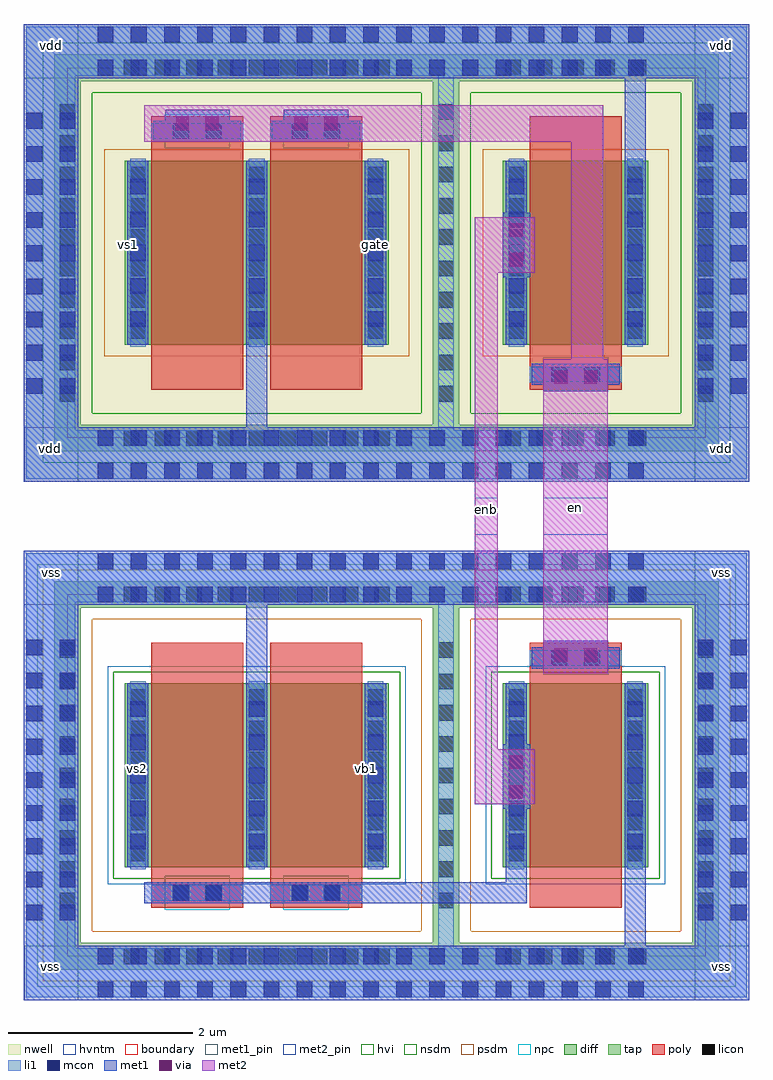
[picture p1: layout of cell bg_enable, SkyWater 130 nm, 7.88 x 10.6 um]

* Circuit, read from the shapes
.subckt bg_enable en enb gate vb1 vdd vs1 vs2 vss
XM1 vss enb vs2 vss sky130_fd_pr__nfet_g5v0d10v5 w=2 l=1
XM2 vb1 enb vss vss sky130_fd_pr__nfet_g5v0d10v5 w=2 l=1
XM3 vss en enb vss sky130_fd_pr__nfet_g5v0d10v5 w=2 l=1
XM4 vdd en vs1 vdd sky130_fd_pr__pfet_g5v0d10v5 w=2 l=1
XM5 gate en vdd vdd sky130_fd_pr__pfet_g5v0d10v5 w=2 l=1
XM6 vdd en enb vdd sky130_fd_pr__pfet_g5v0d10v5 w=2 l=1
.ends

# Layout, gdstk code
from math import pi, radians
import gdstk
lib = gdstk.Library(unit=1e-6, precision=1e-09)
def R(c, l, rs):  # rectangles x0, y0, x1, y1
    for r in rs: c.add(gdstk.rectangle(r[:2], r[2:], *l))
def A(c, l, x, y, w, h, nx, ny, dx, dy):  # array of equal rectangles
    R(c, l, [(x+i*dx, y+j*dy, x+i*dx+w, y+j*dy+h) for i in range(nx) for j in range(ny)])
nwell = (64, 20)
diff = (65, 20)
tap = (65, 44)
poly = (66, 20)
licon = (66, 44)
li1 = (67, 20)
mcon = (67, 44)
met1_pin = (68, 16)
met1 = (68, 20)
via = (68, 44)
met2_pin = (69, 16)
met2 = (69, 20)
hvi = (75, 20)
nsdm = (93, 44)
psdm = (94, 20)
npc = (95, 20)
hvntm = (125, 20)
boundary = (235, 4)

sky130_fd_pr__nfet_g5v0d = lib.new_cell('sky130_fd_pr__nfet_g5v0d10v5_W8LBZR')
R(sky130_fd_pr__nfet_g5v0d, diff, [(0.95,1.295,2.53,3.295)])
R(sky130_fd_pr__nfet_g5v0d, tap, [(0.185,0.185,3.295,0.475), (0.185,0.475,0.475,4.115), (3.005,0.475,3.295,4.115), (0.185,4.115,3.295,4.405)])
R(sky130_fd_pr__nfet_g5v0d, poly, [(1.24,0.855,2.24,3.735)])
A(sky130_fd_pr__nfet_g5v0d, licon, 0.975, 0.245, 0.17, 0.17, 5, 2, 0.34, 3.93)
A(sky130_fd_pr__nfet_g5v0d, licon, 0.245, 0.85, 0.17, 0.17, 1, 9, 0, 0.34)
A(sky130_fd_pr__nfet_g5v0d, licon, 3.065, 0.85, 0.17, 0.17, 1, 9, 0, 0.34)
A(sky130_fd_pr__nfet_g5v0d, licon, 1.01, 1.36, 0.17, 0.17, 1, 6, 0, 0.34)
A(sky130_fd_pr__nfet_g5v0d, licon, 2.3, 1.36, 0.17, 0.17, 1, 6, 0, 0.34)
R(sky130_fd_pr__nfet_g5v0d, licon, [(1.485,3.485,1.655,3.655), (1.825,3.485,1.995,3.655)])
R(sky130_fd_pr__nfet_g5v0d, li1, [(0.245,0.245,3.235,0.415), (0.245,0.415,0.415,4.175), (3.065,0.415,3.235,4.175), (1.01,1.275,1.18,3.315), (2.3,1.275,2.47,3.315), (1.24,3.485,2.24,3.655), (0.245,4.175,3.235,4.345)])
A(sky130_fd_pr__nfet_g5v0d, mcon, 1.01, 1.49, 0.17, 0.17, 1, 5, 0, 0.36)
A(sky130_fd_pr__nfet_g5v0d, mcon, 2.3, 1.49, 0.17, 0.17, 1, 5, 0, 0.36)
R(sky130_fd_pr__nfet_g5v0d, mcon, [(1.475,3.485,1.645,3.655), (1.835,3.485,2.005,3.655)])
R(sky130_fd_pr__nfet_g5v0d, met1, [(0.98,1.295,1.21,3.295), (2.27,1.295,2.5,3.295), (1.26,3.455,2.22,3.685)])
R(sky130_fd_pr__nfet_g5v0d, hvi, [(0,0,3.48,4.59)])
R(sky130_fd_pr__nfet_g5v0d, nsdm, [(0.825,1.17,2.655,3.42)])
R(sky130_fd_pr__nfet_g5v0d, psdm, [(0.06,0.06,3.42,0.6), (0.06,0.6,0.6,3.99), (2.88,0.6,3.42,3.99), (0.06,3.99,3.42,4.53)])
R(sky130_fd_pr__nfet_g5v0d, npc, [(1.385,3.385,2.095,3.755)])
R(sky130_fd_pr__nfet_g5v0d, hvntm, [(0.765,1.11,2.715,3.48)])
R(sky130_fd_pr__nfet_g5v0d, boundary, [(0.33,0.33,3.15,4.26)])

bge_mi2 = lib.new_cell('bge_mi2')
bge_mi2.add(gdstk.Reference(sky130_fd_pr__nfet_g5v0d, (0,0)))

sky130_fd_pr__pfet_g5v0d = lib.new_cell('sky130_fd_pr__pfet_g5v0d10v5_PUAB28')
R(sky130_fd_pr__pfet_g5v0d, nwell, [(0,0,3.77,4.97)])
R(sky130_fd_pr__pfet_g5v0d, diff, [(1.095,1.485,2.675,3.485)])
R(sky130_fd_pr__pfet_g5v0d, tap, [(0.33,0.33,3.44,0.62), (0.33,0.62,0.62,4.35), (3.15,0.62,3.44,4.35), (0.33,4.35,3.44,4.64)])
R(sky130_fd_pr__pfet_g5v0d, poly, [(1.385,1,2.385,3.97)])
A(sky130_fd_pr__pfet_g5v0d, licon, 1.12, 0.39, 0.17, 0.17, 5, 2, 0.34, 4.02)
A(sky130_fd_pr__pfet_g5v0d, licon, 0.39, 0.87, 0.17, 0.17, 1, 10, 0, 0.34)
A(sky130_fd_pr__pfet_g5v0d, licon, 3.21, 0.87, 0.17, 0.17, 1, 10, 0, 0.34)
A(sky130_fd_pr__pfet_g5v0d, licon, 1.155, 1.55, 0.17, 0.17, 1, 6, 0, 0.34)
A(sky130_fd_pr__pfet_g5v0d, licon, 2.445, 1.55, 0.17, 0.17, 1, 6, 0, 0.34)
R(sky130_fd_pr__pfet_g5v0d, licon, [(1.63,1.08,1.8,1.25), (1.97,1.08,2.14,1.25)])
R(sky130_fd_pr__pfet_g5v0d, li1, [(0.39,0.39,3.38,0.56), (0.39,0.56,0.56,4.41), (3.21,0.56,3.38,4.41), (1.385,1.08,2.385,1.25), (1.155,1.465,1.325,3.505), (2.445,1.465,2.615,3.505), (0.39,4.41,3.38,4.58)])
A(sky130_fd_pr__pfet_g5v0d, mcon, 1.155, 1.68, 0.17, 0.17, 1, 5, 0, 0.36)
A(sky130_fd_pr__pfet_g5v0d, mcon, 2.445, 1.68, 0.17, 0.17, 1, 5, 0, 0.36)
R(sky130_fd_pr__pfet_g5v0d, mcon, [(1.62,1.08,1.79,1.25), (1.98,1.08,2.15,1.25)])
R(sky130_fd_pr__pfet_g5v0d, met1, [(1.405,1.05,2.365,1.28), (1.125,1.485,1.355,3.485), (2.415,1.485,2.645,3.485)])
R(sky130_fd_pr__pfet_g5v0d, hvi, [(0,0,3.77,4.97)])
R(sky130_fd_pr__pfet_g5v0d, nsdm, [(0.205,0.205,3.565,0.745), (0.205,0.745,0.745,4.225), (3.025,0.745,3.565,4.225), (0.205,4.225,3.565,4.765)])
R(sky130_fd_pr__pfet_g5v0d, psdm, [(0.875,1.36,2.895,3.61)])
R(sky130_fd_pr__pfet_g5v0d, npc, [(1.53,0.98,2.24,1.35)])
R(sky130_fd_pr__pfet_g5v0d, boundary, [(0.475,0.475,3.295,4.495)])

bge_mi1 = lib.new_cell('bge_mi1')
bge_mi1.add(gdstk.Reference(sky130_fd_pr__pfet_g5v0d, (0,0)))

via__m1_m2 = lib.new_cell('via__M1_M2')
R(via__m1_m2, met1, [(0,0.05,0.7,0.35)])
R(via__m1_m2, via, [(0.115,0.125,0.265,0.275), (0.435,0.125,0.585,0.275)])
R(via__m1_m2, met2, [(0.05,0,0.65,0.4)])

via__li_m1 = lib.new_cell('via__LI_M1')
R(via__li_m1, li1, [(0.03,0.03,0.56,0.2)])
R(via__li_m1, mcon, [(0.03,0.03,0.2,0.2), (0.39,0.03,0.56,0.2)])
R(via__li_m1, met1, [(0,0,0.59,0.23)])

c_sky130_fd_pr__nfet_g5v0d = lib.new_cell('sky130_fd_pr__nfet_g5v0d10v5_W8LBCG')
R(c_sky130_fd_pr__nfet_g5v0d, diff, [(0.95,1.295,3.82,3.295)])
R(c_sky130_fd_pr__nfet_g5v0d, tap, [(0.185,0.185,4.585,0.475), (0.185,0.475,0.475,4.115), (4.295,0.475,4.585,4.115), (0.185,4.115,4.585,4.405)])
R(c_sky130_fd_pr__nfet_g5v0d, poly, [(1.24,0.855,2.24,3.735), (2.53,0.855,3.53,3.735)])
A(c_sky130_fd_pr__nfet_g5v0d, licon, 0.94, 0.245, 0.17, 0.17, 9, 2, 0.34, 3.93)
A(c_sky130_fd_pr__nfet_g5v0d, licon, 0.245, 0.85, 0.17, 0.17, 1, 9, 0, 0.34)
A(c_sky130_fd_pr__nfet_g5v0d, licon, 4.355, 0.85, 0.17, 0.17, 1, 9, 0, 0.34)
A(c_sky130_fd_pr__nfet_g5v0d, licon, 1.01, 1.36, 0.17, 0.17, 3, 6, 1.29, 0.34)
R(c_sky130_fd_pr__nfet_g5v0d, licon, [(1.485,0.935,1.655,1.105), (1.825,0.935,1.995,1.105), (2.775,0.935,2.945,1.105), (3.115,0.935,3.285,1.105)])
A(c_sky130_fd_pr__nfet_g5v0d, li1, 1.01, 1.275, 0.17, 2.04, 3, 1, 1.29, 0)
R(c_sky130_fd_pr__nfet_g5v0d, li1, [(0.245,0.245,4.525,0.415), (0.245,0.415,0.415,4.175), (4.355,0.415,4.525,4.175), (1.24,0.935,2.24,1.105), (2.53,0.935,3.53,1.105), (0.245,4.175,4.525,4.345)])
A(c_sky130_fd_pr__nfet_g5v0d, mcon, 1.01, 1.49, 0.17, 0.17, 3, 5, 1.29, 0.36)
R(c_sky130_fd_pr__nfet_g5v0d, mcon, [(1.475,0.935,1.645,1.105), (1.835,0.935,2.005,1.105), (2.765,0.935,2.935,1.105), (3.125,0.935,3.295,1.105)])
A(c_sky130_fd_pr__nfet_g5v0d, met1, 0.98, 1.295, 0.23, 2, 3, 1, 1.29, 0)
R(c_sky130_fd_pr__nfet_g5v0d, met1, [(1.26,0.905,2.22,1.135), (2.55,0.905,3.51,1.135)])
R(c_sky130_fd_pr__nfet_g5v0d, hvi, [(0,0,4.77,4.59)])
R(c_sky130_fd_pr__nfet_g5v0d, nsdm, [(0.825,1.17,3.945,3.42)])
R(c_sky130_fd_pr__nfet_g5v0d, psdm, [(0.06,0.06,4.71,0.6), (0.06,0.6,0.6,3.99), (4.17,0.6,4.71,3.99), (0.06,3.99,4.71,4.53)])
R(c_sky130_fd_pr__nfet_g5v0d, npc, [(1.385,0.835,2.095,1.205), (2.675,0.835,3.385,1.205)])
R(c_sky130_fd_pr__nfet_g5v0d, hvntm, [(0.765,1.11,4.005,3.48)])
R(c_sky130_fd_pr__nfet_g5v0d, boundary, [(0.33,0.33,4.44,4.26)])

bge_me2_me4 = lib.new_cell('bge_me2_me4')
bge_me2_me4.add(gdstk.Reference(c_sky130_fd_pr__nfet_g5v0d, (0,0)))

c_sky130_fd_pr__pfet_g5v0d = lib.new_cell('sky130_fd_pr__pfet_g5v0d10v5_PSLN98')
R(c_sky130_fd_pr__pfet_g5v0d, nwell, [(0,0,5.06,4.97)])
R(c_sky130_fd_pr__pfet_g5v0d, diff, [(1.095,1.485,3.965,3.485)])
R(c_sky130_fd_pr__pfet_g5v0d, tap, [(0.33,0.33,4.73,0.62), (0.33,0.62,0.62,4.35), (4.44,0.62,4.73,4.35), (0.33,4.35,4.73,4.64)])
R(c_sky130_fd_pr__pfet_g5v0d, poly, [(1.385,1,2.385,3.97), (2.675,1,3.675,3.97)])
A(c_sky130_fd_pr__pfet_g5v0d, licon, 1.085, 0.39, 0.17, 0.17, 9, 2, 0.34, 4.02)
A(c_sky130_fd_pr__pfet_g5v0d, licon, 0.39, 0.87, 0.17, 0.17, 1, 10, 0, 0.34)
A(c_sky130_fd_pr__pfet_g5v0d, licon, 4.5, 0.87, 0.17, 0.17, 1, 10, 0, 0.34)
A(c_sky130_fd_pr__pfet_g5v0d, licon, 1.155, 1.55, 0.17, 0.17, 3, 6, 1.29, 0.34)
R(c_sky130_fd_pr__pfet_g5v0d, licon, [(1.63,3.72,1.8,3.89), (1.97,3.72,2.14,3.89), (2.92,3.72,3.09,3.89), (3.26,3.72,3.43,3.89)])
A(c_sky130_fd_pr__pfet_g5v0d, li1, 1.155, 1.465, 0.17, 2.04, 3, 1, 1.29, 0)
R(c_sky130_fd_pr__pfet_g5v0d, li1, [(0.39,0.39,4.67,0.56), (0.39,0.56,0.56,4.41), (4.5,0.56,4.67,4.41), (1.385,3.72,2.385,3.89), (2.675,3.72,3.675,3.89), (0.39,4.41,4.67,4.58)])
A(c_sky130_fd_pr__pfet_g5v0d, mcon, 1.155, 1.68, 0.17, 0.17, 3, 5, 1.29, 0.36)
R(c_sky130_fd_pr__pfet_g5v0d, mcon, [(1.62,3.72,1.79,3.89), (1.98,3.72,2.15,3.89), (2.91,3.72,3.08,3.89), (3.27,3.72,3.44,3.89)])
A(c_sky130_fd_pr__pfet_g5v0d, met1, 1.125, 1.485, 0.23, 2, 3, 1, 1.29, 0)
R(c_sky130_fd_pr__pfet_g5v0d, met1, [(1.405,3.69,2.365,3.92), (2.695,3.69,3.655,3.92)])
R(c_sky130_fd_pr__pfet_g5v0d, hvi, [(0,0,5.06,4.97)])
R(c_sky130_fd_pr__pfet_g5v0d, nsdm, [(0.205,0.205,4.855,0.745), (0.205,0.745,0.745,4.225), (4.315,0.745,4.855,4.225), (0.205,4.225,4.855,4.765)])
R(c_sky130_fd_pr__pfet_g5v0d, psdm, [(0.875,1.36,4.185,3.61)])
R(c_sky130_fd_pr__pfet_g5v0d, npc, [(1.53,3.62,2.24,3.99), (2.82,3.62,3.53,3.99)])
R(c_sky130_fd_pr__pfet_g5v0d, boundary, [(0.475,0.475,4.585,4.495)])

bge_me1_me3 = lib.new_cell('bge_me1_me3')
bge_me1_me3.add(gdstk.Reference(c_sky130_fd_pr__pfet_g5v0d, (0,0)))

bg_enable = lib.new_cell('bg_enable')
R(bg_enable, li1, [(0.03,-0.115,7.85,0.415), (0.03,-0.115,0.56,4.705), (7.32,-0.115,7.85,4.705), (0.03,4.175,7.85,4.705), (0.03,5.515,7.85,6.045), (0.03,5.605,0.56,10.425), (7.32,5.605,7.85,10.425), (0.03,9.895,7.85,10.425)])
R(bg_enable, met1_pin, [(0.005,-0.145,0.59,0.445), (7.29,-0.145,7.88,0.445), (1.125,1.295,1.355,3.295), (3.705,1.295,3.935,3.295), (0,4.145,0.59,4.735), (7.29,4.145,7.88,4.735), (0.005,5.485,0.59,6.075), (7.29,5.485,7.88,6.075), (1.125,6.97,1.355,8.97), (3.705,6.97,3.935,8.97), (0,9.865,0.59,10.455), (7.29,9.865,7.88,10.455)])
R(bg_enable, met1, [(0,-0.145,7.88,0.445), (0,-0.145,0.59,4.735), (6.525,-0.145,6.755,1.295), (7.29,-0.145,7.88,4.735), (1.31,0.905,5.465,1.135), (5.235,0.905,5.465,1.295), (2.415,3.295,2.645,4.735), (0,4.145,7.88,4.735), (0,5.485,7.88,6.075), (2.415,5.485,2.645,6.97), (0,5.575,0.59,10.455), (7.29,5.575,7.88,10.455), (6.525,8.97,6.755,10.455), (0,9.865,7.88,10.455)])
R(bg_enable, met2_pin, [(4.9,4.91,5.15,5.31), (5.645,4.91,6.345,5.31)])
R(bg_enable, met2, [(4.9,1.98,5.55,2.58), (4.9,1.98,5.15,8.355), (5.645,3.405,6.345,6.815), (5.945,6.465,6.295,9.575), (4.9,7.755,5.55,8.355), (1.31,9.175,6.06,9.575)])
bg_enable.add(gdstk.FlexPath([(5.645,5.11),(6.345,5.11)], 0.4, ends="flush", simple_path=True, layer=69, datatype=20))  # met2
bg_enable.add(gdstk.Reference(bge_mi2, (4.255,0)))
bg_enable.add(gdstk.Reference(bge_mi1, (4.11,5.485)))
bg_enable.add(gdstk.Reference(via__m1_m2, (5.15,2.63), rotation=3*pi/2))
bg_enable.add(gdstk.Reference(via__m1_m2, (5.15,8.405), rotation=3*pi/2))
bg_enable.add(gdstk.Reference(via__li_m1, (0.775,0.445), rotation=3*pi/2))
bg_enable.add(gdstk.Reference(via__li_m1, (1.135,0.445), rotation=3*pi/2))
bg_enable.add(gdstk.Reference(via__li_m1, (1.495,0.445), rotation=3*pi/2))
bg_enable.add(gdstk.Reference(via__li_m1, (1.855,0.445), rotation=3*pi/2))
bg_enable.add(gdstk.Reference(via__li_m1, (2.215,0.445), rotation=3*pi/2))
bg_enable.add(gdstk.Reference(via__li_m1, (2.575,0.445), rotation=3*pi/2))
bg_enable.add(gdstk.Reference(via__li_m1, (2.935,0.445), rotation=3*pi/2))
bg_enable.add(gdstk.Reference(via__li_m1, (3.295,0.445), rotation=3*pi/2))
bg_enable.add(gdstk.Reference(via__li_m1, (3.655,0.445), rotation=3*pi/2))
bg_enable.add(gdstk.Reference(via__li_m1, (4.015,0.445), rotation=3*pi/2))
bg_enable.add(gdstk.Reference(via__li_m1, (4.375,0.445), rotation=3*pi/2))
bg_enable.add(gdstk.Reference(via__li_m1, (4.735,0.445), rotation=3*pi/2))
bg_enable.add(gdstk.Reference(via__li_m1, (5.095,0.445), rotation=3*pi/2))
bg_enable.add(gdstk.Reference(via__li_m1, (5.455,0.445), rotation=3*pi/2))
bg_enable.add(gdstk.Reference(via__li_m1, (5.815,0.445), rotation=3*pi/2))
bg_enable.add(gdstk.Reference(via__li_m1, (6.175,0.445), rotation=3*pi/2))
bg_enable.add(gdstk.Reference(via__li_m1, (6.535,0.445), rotation=3*pi/2))
bg_enable.add(gdstk.Reference(via__li_m1, (0.775,4.735), rotation=3*pi/2))
bg_enable.add(gdstk.Reference(via__li_m1, (1.135,4.735), rotation=3*pi/2))
bg_enable.add(gdstk.Reference(via__li_m1, (1.495,4.735), rotation=3*pi/2))
bg_enable.add(gdstk.Reference(via__li_m1, (1.855,4.735), rotation=3*pi/2))
bg_enable.add(gdstk.Reference(via__li_m1, (2.215,4.735), rotation=3*pi/2))
bg_enable.add(gdstk.Reference(via__li_m1, (2.575,4.735), rotation=3*pi/2))
bg_enable.add(gdstk.Reference(via__li_m1, (2.935,4.735), rotation=3*pi/2))
bg_enable.add(gdstk.Reference(via__li_m1, (3.295,4.735), rotation=3*pi/2))
bg_enable.add(gdstk.Reference(via__li_m1, (3.655,4.735), rotation=3*pi/2))
bg_enable.add(gdstk.Reference(via__li_m1, (4.015,4.735), rotation=3*pi/2))
bg_enable.add(gdstk.Reference(via__li_m1, (4.375,4.735), rotation=3*pi/2))
bg_enable.add(gdstk.Reference(via__li_m1, (4.735,4.735), rotation=3*pi/2))
bg_enable.add(gdstk.Reference(via__li_m1, (5.095,4.735), rotation=3*pi/2))
bg_enable.add(gdstk.Reference(via__li_m1, (5.455,4.735), rotation=3*pi/2))
bg_enable.add(gdstk.Reference(via__li_m1, (5.815,4.735), rotation=3*pi/2))
bg_enable.add(gdstk.Reference(via__li_m1, (6.175,4.735), rotation=3*pi/2))
bg_enable.add(gdstk.Reference(via__li_m1, (6.535,4.735), rotation=3*pi/2))
bg_enable.add(gdstk.Reference(via__li_m1, (0.775,6.075), rotation=3*pi/2))
bg_enable.add(gdstk.Reference(via__li_m1, (1.135,6.075), rotation=3*pi/2))
bg_enable.add(gdstk.Reference(via__li_m1, (1.495,6.075), rotation=3*pi/2))
bg_enable.add(gdstk.Reference(via__li_m1, (1.855,6.075), rotation=3*pi/2))
bg_enable.add(gdstk.Reference(via__li_m1, (2.215,6.075), rotation=3*pi/2))
bg_enable.add(gdstk.Reference(via__li_m1, (2.575,6.075), rotation=3*pi/2))
bg_enable.add(gdstk.Reference(via__li_m1, (2.935,6.075), rotation=3*pi/2))
bg_enable.add(gdstk.Reference(via__li_m1, (3.295,6.075), rotation=3*pi/2))
bg_enable.add(gdstk.Reference(via__li_m1, (3.655,6.075), rotation=3*pi/2))
bg_enable.add(gdstk.Reference(via__li_m1, (4.015,6.075), rotation=3*pi/2))
bg_enable.add(gdstk.Reference(via__li_m1, (4.375,6.075), rotation=3*pi/2))
bg_enable.add(gdstk.Reference(via__li_m1, (4.735,6.075), rotation=3*pi/2))
bg_enable.add(gdstk.Reference(via__li_m1, (5.095,6.075), rotation=3*pi/2))
bg_enable.add(gdstk.Reference(via__li_m1, (5.455,6.075), rotation=3*pi/2))
bg_enable.add(gdstk.Reference(via__li_m1, (5.815,6.075), rotation=3*pi/2))
bg_enable.add(gdstk.Reference(via__li_m1, (6.175,6.075), rotation=3*pi/2))
bg_enable.add(gdstk.Reference(via__li_m1, (6.535,6.075), rotation=3*pi/2))
bg_enable.add(gdstk.Reference(via__li_m1, (0.775,10.455), rotation=3*pi/2))
bg_enable.add(gdstk.Reference(via__li_m1, (1.135,10.455), rotation=3*pi/2))
bg_enable.add(gdstk.Reference(via__li_m1, (1.495,10.455), rotation=3*pi/2))
bg_enable.add(gdstk.Reference(via__li_m1, (1.855,10.455), rotation=3*pi/2))
bg_enable.add(gdstk.Reference(via__li_m1, (2.215,10.455), rotation=3*pi/2))
bg_enable.add(gdstk.Reference(via__li_m1, (2.575,10.455), rotation=3*pi/2))
bg_enable.add(gdstk.Reference(via__li_m1, (2.935,10.455), rotation=3*pi/2))
bg_enable.add(gdstk.Reference(via__li_m1, (3.295,10.455), rotation=3*pi/2))
bg_enable.add(gdstk.Reference(via__li_m1, (3.655,10.455), rotation=3*pi/2))
bg_enable.add(gdstk.Reference(via__li_m1, (4.015,10.455), rotation=3*pi/2))
bg_enable.add(gdstk.Reference(via__li_m1, (4.375,10.455), rotation=3*pi/2))
bg_enable.add(gdstk.Reference(via__li_m1, (4.735,10.455), rotation=3*pi/2))
bg_enable.add(gdstk.Reference(via__li_m1, (5.095,10.455), rotation=3*pi/2))
bg_enable.add(gdstk.Reference(via__li_m1, (5.455,10.455), rotation=3*pi/2))
bg_enable.add(gdstk.Reference(via__li_m1, (5.815,10.455), rotation=3*pi/2))
bg_enable.add(gdstk.Reference(via__li_m1, (6.175,10.455), rotation=3*pi/2))
bg_enable.add(gdstk.Reference(via__li_m1, (6.535,10.455), rotation=3*pi/2))
bg_enable.add(gdstk.Reference(via__li_m1, (0.59,0.92), rotation=pi))
bg_enable.add(gdstk.Reference(via__li_m1, (7.88,0.92), rotation=pi))
bg_enable.add(gdstk.Reference(via__li_m1, (0.59,1.28), rotation=pi))
bg_enable.add(gdstk.Reference(via__li_m1, (7.88,1.28), rotation=pi))
bg_enable.add(gdstk.Reference(via__li_m1, (0.59,1.64), rotation=pi))
bg_enable.add(gdstk.Reference(via__li_m1, (7.88,1.64), rotation=pi))
bg_enable.add(gdstk.Reference(via__li_m1, (0.59,2), rotation=pi))
bg_enable.add(gdstk.Reference(via__li_m1, (7.88,2), rotation=pi))
bg_enable.add(gdstk.Reference(via__li_m1, (0.59,2.36), rotation=pi))
bg_enable.add(gdstk.Reference(via__li_m1, (7.88,2.36), rotation=pi))
bg_enable.add(gdstk.Reference(via__li_m1, (0.59,2.72), rotation=pi))
bg_enable.add(gdstk.Reference(via__li_m1, (7.88,2.72), rotation=pi))
bg_enable.add(gdstk.Reference(via__li_m1, (0.59,3.08), rotation=pi))
bg_enable.add(gdstk.Reference(via__li_m1, (7.88,3.08), rotation=pi))
bg_enable.add(gdstk.Reference(via__li_m1, (0.59,3.44), rotation=pi))
bg_enable.add(gdstk.Reference(via__li_m1, (7.88,3.44), rotation=pi))
bg_enable.add(gdstk.Reference(via__li_m1, (0.59,3.8), rotation=pi))
bg_enable.add(gdstk.Reference(via__li_m1, (7.88,3.8), rotation=pi))
bg_enable.add(gdstk.Reference(via__li_m1, (0.59,6.64), rotation=pi))
bg_enable.add(gdstk.Reference(via__li_m1, (7.88,6.64), rotation=pi))
bg_enable.add(gdstk.Reference(via__li_m1, (0.59,7), rotation=pi))
bg_enable.add(gdstk.Reference(via__li_m1, (7.88,7), rotation=pi))
bg_enable.add(gdstk.Reference(via__li_m1, (0.59,7.36), rotation=pi))
bg_enable.add(gdstk.Reference(via__li_m1, (7.88,7.36), rotation=pi))
bg_enable.add(gdstk.Reference(via__li_m1, (0.59,7.72), rotation=pi))
bg_enable.add(gdstk.Reference(via__li_m1, (7.88,7.72), rotation=pi))
bg_enable.add(gdstk.Reference(via__li_m1, (0.59,8.08), rotation=pi))
bg_enable.add(gdstk.Reference(via__li_m1, (7.88,8.08), rotation=pi))
bg_enable.add(gdstk.Reference(via__li_m1, (0.59,8.44), rotation=pi))
bg_enable.add(gdstk.Reference(via__li_m1, (7.88,8.44), rotation=pi))
bg_enable.add(gdstk.Reference(via__li_m1, (0.59,8.8), rotation=pi))
bg_enable.add(gdstk.Reference(via__li_m1, (7.88,8.8), rotation=pi))
bg_enable.add(gdstk.Reference(via__li_m1, (0.59,9.16), rotation=pi))
bg_enable.add(gdstk.Reference(via__li_m1, (7.88,9.16), rotation=pi))
bg_enable.add(gdstk.Reference(via__li_m1, (0.59,9.52), rotation=pi))
bg_enable.add(gdstk.Reference(via__li_m1, (7.88,9.52), rotation=pi))
bg_enable.add(gdstk.Reference(via__m1_m2, (5.645,3.405)))
bg_enable.add(gdstk.Reference(via__m1_m2, (5.645,6.415)))
bg_enable.add(gdstk.Reference(via__m1_m2, (1.535,9.175)))
bg_enable.add(gdstk.Reference(via__m1_m2, (2.825,9.175)))
bg_enable.add(gdstk.Reference(bge_me2_me4, (0.145,0)))
bg_enable.add(gdstk.Reference(bge_me1_me3, (0,5.485)))
bg_enable.add(gdstk.Label('enb', (5.03,5.18), layer=69, texttype=5))
bg_enable.add(gdstk.Label('en', (5.99,5.205), layer=69, texttype=5))
bg_enable.add(gdstk.Label('vb1', (3.725,2.365), layer=68, texttype=5))
bg_enable.add(gdstk.Label('gate', (3.82,8.06), layer=68, texttype=5))
bg_enable.add(gdstk.Label('vdd', (0.295,5.845), layer=68, texttype=5))
bg_enable.add(gdstk.Label('vdd', (7.575,5.845), layer=68, texttype=5))
bg_enable.add(gdstk.Label('vdd', (0.305,10.22), layer=68, texttype=5))
bg_enable.add(gdstk.Label('vdd', (7.575,10.22), layer=68, texttype=5))
bg_enable.add(gdstk.Label('vss', (0.295,0.215), layer=68, texttype=5))
bg_enable.add(gdstk.Label('vss', (7.575,0.215), layer=68, texttype=5))
bg_enable.add(gdstk.Label('vss', (0.305,4.5), layer=68, texttype=5))
bg_enable.add(gdstk.Label('vss', (7.575,4.5), layer=68, texttype=5))
bg_enable.add(gdstk.Label('vs2', (1.235,2.365), layer=68, texttype=5))
bg_enable.add(gdstk.Label('vs1', (1.14,8.06), layer=68, texttype=5))

lib.write_gds('bg_enable.gds')
